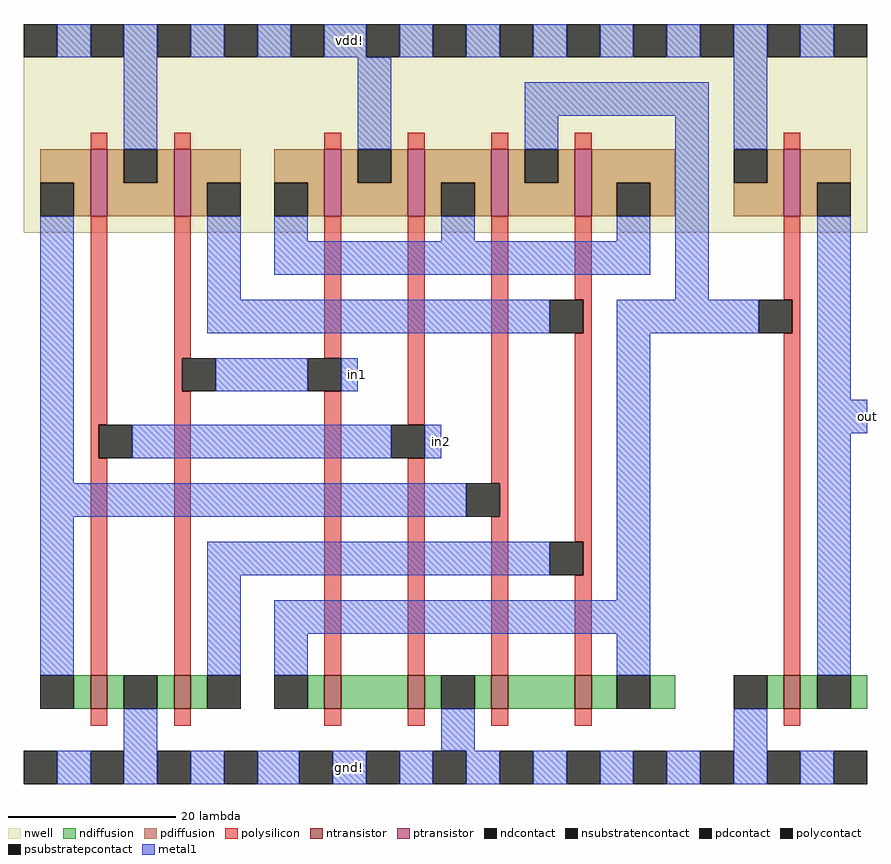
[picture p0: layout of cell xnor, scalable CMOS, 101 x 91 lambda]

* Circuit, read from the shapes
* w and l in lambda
.subckt xnor gnd! in1 in2 out vdd!
M1 gnd! in2 n1 gnd! nfet w=4 l=2
M2 n2 in1 gnd! gnd! nfet w=4 l=2
M3 n3 in1 n4 gnd! nfet w=4 l=2
M4 gnd! in2 n3 gnd! nfet w=4 l=2
M5 n5 n1 gnd! gnd! nfet w=4 l=2
M6 n4 n2 n5 gnd! nfet w=4 l=2
M7 out n4 gnd! gnd! nfet w=4 l=2
M8 vdd! in2 n1 vdd! pfet w=8 l=2
M9 n2 in1 vdd! vdd! pfet w=8 l=2
M10 vdd! in1 n6 vdd! pfet w=8 l=2
M11 n6 in2 vdd! vdd! pfet w=8 l=2
M12 n4 n1 n6 vdd! pfet w=8 l=2
M13 n6 n2 n4 vdd! pfet w=8 l=2
M14 out n4 vdd! vdd! pfet w=8 l=2
.ends

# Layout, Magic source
magic
tech scmos
<< nwell >>
rect -9 8 92 33
<< polysilicon >>
rect -1 18 1 20
rect 9 18 11 20
rect 27 18 29 20
rect 37 18 39 20
rect 47 18 49 20
rect 57 18 59 20
rect 82 18 84 20
rect -1 -15 1 10
rect 9 -7 11 10
rect 27 -7 29 10
rect 9 -11 10 -7
rect -1 -19 0 -15
rect -1 -45 1 -19
rect 9 -45 11 -11
rect 27 -45 29 -11
rect 37 -15 39 10
rect 37 -45 39 -19
rect 47 -22 49 10
rect 57 0 59 10
rect 82 0 84 10
rect 58 -4 59 0
rect 83 -4 84 0
rect 48 -26 49 -22
rect 47 -45 49 -26
rect 57 -29 59 -4
rect 58 -33 59 -29
rect 57 -45 59 -33
rect 82 -45 84 -4
rect -1 -51 1 -49
rect 9 -51 11 -49
rect 27 -51 29 -49
rect 37 -51 39 -49
rect 47 -51 49 -49
rect 57 -51 59 -49
rect 82 -51 84 -49
<< ndiffusion >>
rect -3 -49 -1 -45
rect 1 -49 3 -45
rect 7 -49 9 -45
rect 11 -49 13 -45
rect 25 -49 27 -45
rect 29 -49 37 -45
rect 39 -49 41 -45
rect 45 -49 47 -45
rect 49 -49 57 -45
rect 59 -49 62 -45
rect 66 -49 69 -45
rect 80 -49 82 -45
rect 84 -49 86 -45
rect 90 -49 92 -45
<< pdiffusion >>
rect -7 14 -1 18
rect -3 10 -1 14
rect 1 14 3 18
rect 7 14 9 18
rect 1 10 9 14
rect 11 14 17 18
rect 11 10 13 14
rect 21 14 27 18
rect 25 10 27 14
rect 29 14 31 18
rect 35 14 37 18
rect 29 10 37 14
rect 39 14 47 18
rect 39 10 41 14
rect 45 10 47 14
rect 49 14 51 18
rect 55 14 57 18
rect 49 10 57 14
rect 59 14 69 18
rect 59 10 62 14
rect 66 10 69 14
rect 80 14 82 18
rect 76 10 82 14
rect 84 14 90 18
rect 84 10 86 14
<< metal1 >>
rect -5 29 -1 33
rect 3 18 7 33
rect 11 29 15 33
rect 19 29 23 33
rect 27 29 32 33
rect 36 29 40 33
rect 44 29 48 33
rect 52 29 56 33
rect 60 29 64 33
rect 68 29 72 33
rect 31 18 35 29
rect 51 22 73 26
rect 51 18 55 22
rect -7 -22 -3 10
rect 13 0 17 10
rect 21 7 25 10
rect 41 7 45 10
rect 62 7 66 10
rect 21 3 66 7
rect 69 0 73 22
rect 76 18 80 33
rect 84 29 88 33
rect 13 -4 54 0
rect 62 -4 79 0
rect 14 -11 25 -7
rect 29 -11 31 -7
rect 4 -19 35 -15
rect 39 -19 41 -15
rect -7 -26 44 -22
rect -7 -45 -3 -26
rect 13 -33 54 -29
rect 13 -45 17 -33
rect 62 -36 66 -4
rect 21 -40 66 -36
rect 21 -45 25 -40
rect 62 -45 66 -40
rect 86 -12 90 10
rect 86 -16 92 -12
rect 86 -45 90 -16
rect -5 -58 -1 -54
rect 3 -58 7 -49
rect 41 -54 45 -49
rect 11 -58 15 -54
rect 19 -58 24 -54
rect 28 -58 32 -54
rect 36 -58 40 -54
rect 44 -58 48 -54
rect 52 -58 56 -54
rect 60 -58 64 -54
rect 68 -58 72 -54
rect 76 -58 80 -49
rect 84 -58 88 -54
<< ntransistor >>
rect -1 -49 1 -45
rect 9 -49 11 -45
rect 27 -49 29 -45
rect 37 -49 39 -45
rect 47 -49 49 -45
rect 57 -49 59 -45
rect 82 -49 84 -45
<< ptransistor >>
rect -1 10 1 18
rect 9 10 11 18
rect 27 10 29 18
rect 37 10 39 18
rect 47 10 49 18
rect 57 10 59 18
rect 82 10 84 18
<< polycontact >>
rect 10 -11 14 -7
rect 25 -11 29 -7
rect 0 -19 4 -15
rect 35 -19 39 -15
rect 54 -4 58 0
rect 79 -4 83 0
rect 44 -26 48 -22
rect 54 -33 58 -29
<< ndcontact >>
rect -7 -49 -3 -45
rect 3 -49 7 -45
rect 13 -49 17 -45
rect 21 -49 25 -45
rect 41 -49 45 -45
rect 62 -49 66 -45
rect 76 -49 80 -45
rect 86 -49 90 -45
<< pdcontact >>
rect -7 10 -3 14
rect 3 14 7 18
rect 13 10 17 14
rect 21 10 25 14
rect 31 14 35 18
rect 41 10 45 14
rect 51 14 55 18
rect 62 10 66 14
rect 76 14 80 18
rect 86 10 90 14
<< psubstratepcontact >>
rect -9 -58 -5 -54
rect -1 -58 3 -54
rect 7 -58 11 -54
rect 15 -58 19 -54
rect 24 -58 28 -54
rect 32 -58 36 -54
rect 40 -58 44 -54
rect 48 -58 52 -54
rect 56 -58 60 -54
rect 64 -58 68 -54
rect 72 -58 76 -54
rect 80 -58 84 -54
rect 88 -58 92 -54
<< nsubstratencontact >>
rect -9 29 -5 33
rect -1 29 3 33
rect 7 29 11 33
rect 15 29 19 33
rect 23 29 27 33
rect 32 29 36 33
rect 40 29 44 33
rect 48 29 52 33
rect 56 29 60 33
rect 64 29 68 33
rect 72 29 76 33
rect 80 29 84 33
rect 88 29 92 33
<< labels >>
rlabel metal1 31 -11 31 -7 1 in1
rlabel metal1 41 -19 41 -15 1 in2
rlabel metal1 30 -56 30 -56 1 gnd!
rlabel metal1 30 31 30 31 5 vdd!
rlabel metal1 92 -16 92 -12 7 out
<< end >>
